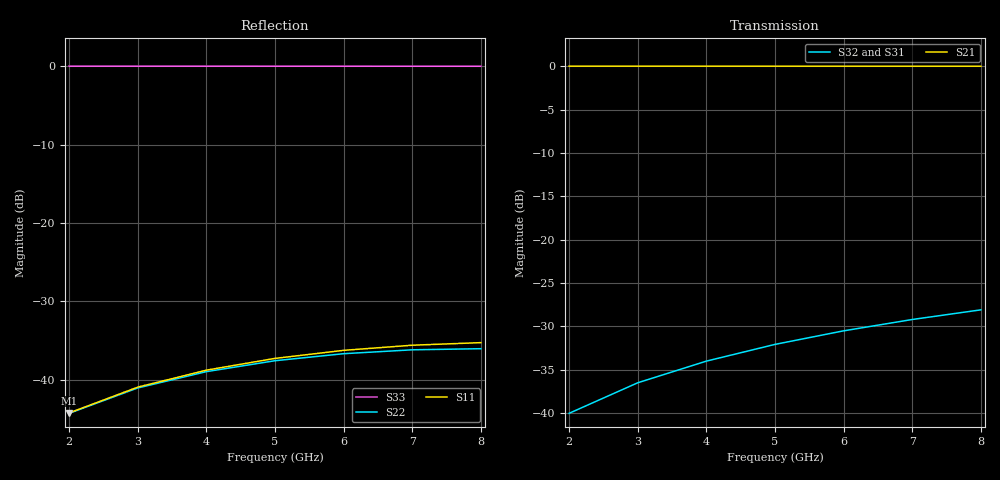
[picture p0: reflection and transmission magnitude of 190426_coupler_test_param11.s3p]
! Sonnet Data File
! From: emgraph Version : 16.56
! From Project: 190426_coupler_test
! Data is De-embedded
! Data File Written: 05/06/2019 15:59:44
!< HDATE 04/25/2019 10:48:44
!< MDATE 04/25/2019 10:59:35
!< PARAMS
!< tandelta = 0.0
!< t_aSi = 0.25
!< W = 10.0
!< Lcoupler = 1000.0
!< END PARAMS
# GHZ S MA R 50.0 !  non standard terminations in data
! TERM 50.00000 0.000000 50.00000 0.000000 63.84000 0.000000
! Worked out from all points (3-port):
!   7 points, 2 GHz to 8 GHz, reference 50 ohm
!   strongest paths, dB at 2 GHz, 3 GHz, 5 GHz, 7 GHz, 8 GHz:
!     S21: 0.0, 0.0, 0.0, 0.0, 0.0
!     S32: -40.0, -36.5, -32.1, -29.2, -28.1
!     S31: -40.1, -36.6, -32.2, -29.4, -28.2
!   lowest |S11| = -44.2 dB at 2 GHz (marker M1), VSWR 1.01, Z = 50.2 + j0.565 ohm
!   |S11| at or under -10 dB: start of sweep to end of sweep
2  0.006153 66.0  0.9999 -21.7  0.009924 60.2
   0.9999 -21.7  0.006119 71.6  0.009945 83.0
   0.009924 60.2  0.009945 83.0  0.9999 -15.5
3  0.008986 53.8  0.9998 -32.5  0.01485 45.2
   0.9998 -32.5  0.008876 62.4  0.01492 79.4
   0.01485 45.2  0.01492 79.4  0.9998 -23.3
4  0.01153 41.5  0.9997 -43.3  0.01975 30.3
   0.9997 -43.3  0.01128 53.4  0.01989 75.8
   0.01975 30.3  0.01989 75.8  0.9996 -31.1
5  0.0137 28.9  0.9996 -54.2  0.02459 15.4
   0.9996 -54.2  0.01324 44.4  0.02484 72.1
   0.02459 15.4  0.02484 72.1  0.9994 -38.9
6  0.01542 16.1  0.9994 -65.0  0.02937 0.5
   0.9994 -65.0  0.01468 35.7  0.02974 68.3
   0.02937 0.5  0.02974 68.3  0.9991 -46.6
7  0.01663 2.8  0.9993 -75.8  0.03407 -14.4
   0.9993 -75.8  0.01554 27.2  0.03458 64.5
   0.03407 -14.4  0.03458 64.5  0.9988 -54.4
8  0.01727 -11.0  0.9991 -86.7  0.03868 -29.4
   0.9991 -86.7  0.0158 19.0  0.0393 60.7
   0.03868 -29.4  0.0393 60.7  0.9985 -62.2
